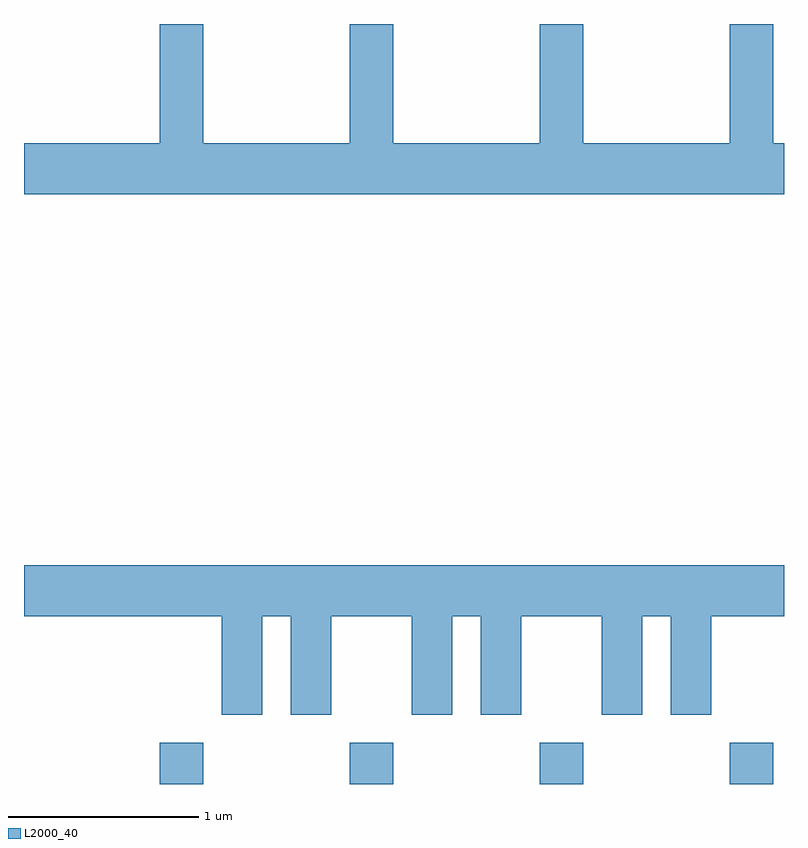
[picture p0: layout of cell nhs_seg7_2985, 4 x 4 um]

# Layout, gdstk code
import gdstk
lib = gdstk.Library(unit=1e-6, precision=1e-09)
def R(c, l, rs):  # rectangles x0, y0, x1, y1
    for r in rs: c.add(gdstk.rectangle(r[:2], r[2:], *l))
def A(c, l, x, y, w, h, nx, ny, dx, dy):  # array of equal rectangles
    R(c, l, [(x+i*dx, y+j*dy, x+i*dx+w, y+j*dy+h) for i in range(nx) for j in range(ny)])
def P(c, l, *ps):  # polygons
    for p in ps: c.add(gdstk.Polygon(p, *l))
L2000_40 = (2000, 40)

nhs_seg7_2985 = lib.new_cell('nhs_seg7_2985')
A(nhs_seg7_2985, L2000_40, 276.326, 1782.252, 0.228, 0.217, 4, 1, 1, 0)
P(nhs_seg7_2985, L2000_40, [(279.611,1785.624),(279.554,1785.624),(279.554,1786.252),(279.326,1786.252),(279.326,1785.624),(278.554,1785.624),(278.554,1786.252),(278.326,1786.252),(278.326,1785.624),(277.554,1785.624),(277.554,1786.252),(277.326,1786.252),(277.326,1785.624),(276.554,1785.624),(276.554,1786.252),(276.326,1786.252),(276.326,1785.624),(275.611,1785.624),(275.611,1785.356),(279.611,1785.356)],
  [(275.611,1783.136),(276.651,1783.136),(276.651,1782.616),(276.864,1782.616),(276.864,1783.136),(277.016,1783.136),(277.016,1782.616),(277.229,1782.616),(277.229,1783.136),(277.651,1783.136),(277.651,1782.616),(277.864,1782.616),(277.864,1783.136),(278.016,1783.136),(278.016,1782.616),(278.229,1782.616),(278.229,1783.136),(278.651,1783.136),(278.651,1782.616),(278.864,1782.616),(278.864,1783.136),(279.016,1783.136),(279.016,1782.616),(279.229,1782.616),(279.229,1783.136),(279.611,1783.136),(279.611,1783.404),(275.611,1783.404)])

lib.write_gds('nhs_seg7_2985.gds')
